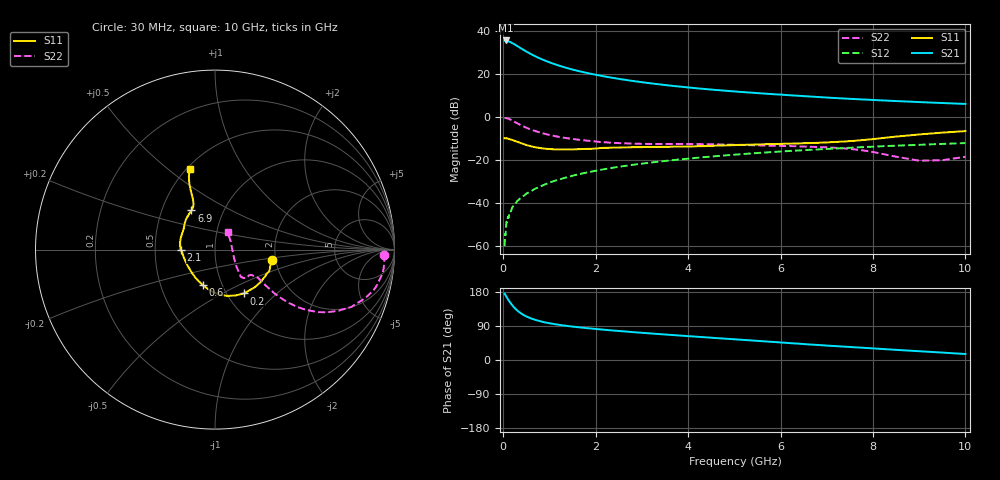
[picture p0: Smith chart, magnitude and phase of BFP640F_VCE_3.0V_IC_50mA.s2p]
! Infineon Technologies  Discrete & RF Semiconductors
! BFP640F
! VCE =  3.0 V,  IC =  50 mA
! Common Emitter S-Parameters:  Apr 2013
# GHz  S  MA  R  50
!  f  S11  S21  S12  S22
! GHz  MAG  ANG  MAG  ANG  MAG  ANG  MAG  ANG
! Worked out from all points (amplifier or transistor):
!   99 points, 30 MHz to 10 GHz, reference 50 ohm
!   highest |S21| = 35.6 dB at 50 MHz (marker M1)
!   |S21| within 3 dB of that: start of sweep to 334.3 MHz
!   unconditionally stable (mu >= 1): 1.303 GHz to end of sweep
!   at 350 MHz: K = 0.63, MSG = 35.2 dB, |S12| = -38.1 dB
!   at 3.5 GHz: K = 1.07, MAG = 16.0 dB, |S12| = -20.4 dB
!   at 10 GHz: K = 1.04, MAG = 7.8 dB, |S12| = -12.1 dB
!   S11 on the Smith chart (normalised r, x): 30 MHz: 1.91, -0.24; 200 MHz: 1.20, -0.64; 600 MHz: 0.81, -0.33; 2.1 GHz: 0.68, -0.01; 6.9 GHz: 0.70, +0.33; 10 GHz: 0.52, +0.60
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0.03  0.3217 -10.2  59 175.1  0.001 64.2  0.943 -1.7
0.05  0.3211 -16.5  60.14 171.2  0.0018 26.9  0.9454 -5.1
0.08  0.3181 -24.9  59.53 164.8  0.0036 74.0  0.9373 -9.3
0.12  0.3102 -37.0  57.06 157.1  0.0046 73.3  0.9089 -14.7
0.15  0.3033 -44.7  55.46 151.8  0.0059 79.3  0.8767 -18.1
0.2  0.2925 -56.7  51.96 143.7  0.0081 75.8  0.8243 -22.8
0.25  0.2795 -66.2  48.52 136.9  0.0092 78.0  0.768 -26.3
0.3  0.2674 -74.9  44.97 131.0  0.0111 78.4  0.7182 -29.1
0.4  0.2435 -88.7  38.58 121.8  0.014 75.8  0.63 -32.7
0.5  0.2236 -99.9  33.24 115.0  0.0166 75.0  0.5647 -34.7
0.6  0.209 -109.2  29.04 109.8  0.019 75.8  0.5109 -35.8
0.8  0.1905 -125.2  22.81 102.3  0.0243 75.3  0.4361 -36.4
1  0.1809 -138.2  18.65 97.0  0.03 75.2  0.384 -36.0
1.3  0.177 -153.8  14.55 91.2  0.0378 74.3  0.3324 -34.8
1.7  0.1804 -168.7  11.25 85.5  0.0486 72.7  0.291 -33.4
2.1  0.1904 -178.8  9.16 80.8  0.0591 70.9  0.2631 -34.1
3.4  0.2023 157.1  5.713 68.2  0.0929 64.3  0.2366 -38.7
5.1  0.2251 138.4  3.858 53.8  0.1359 55.0  0.2253 -44.8
6.7  0.2504 123.3  2.969 40.4  0.1744 45.6  0.2031 -46.1
6.9  0.2551 121.1  2.882 38.9  0.179 44.5  0.1996 -45.5
8.5  0.3512 112.4  2.351 26.8  0.2162 35.1  0.1199 -26.4
10  0.4713 107.4  2.016 15.8  0.2483 26.4  0.1194 53.7
